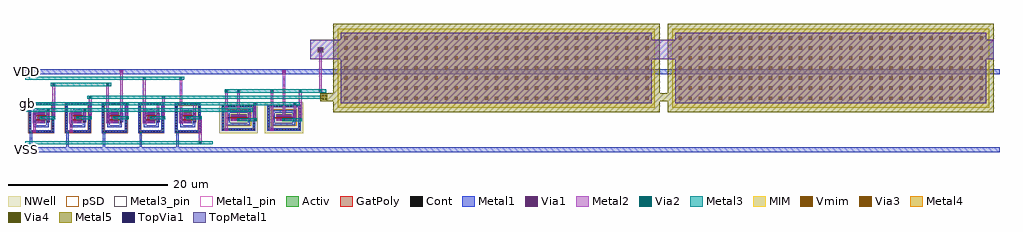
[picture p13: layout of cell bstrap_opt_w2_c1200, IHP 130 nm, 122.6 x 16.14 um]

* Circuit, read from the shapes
.subckt bstrap_opt_w2_c1200 VDD VSS ckb gb out vin
XM1 n1 ckb VSS VSS sg13_lv_nmos w=1u l=0.15u m=2
XM2 n2 ckb VSS VSS sg13_lv_nmos w=1u l=0.15u m=2
XM3 gb VDD n1 VSS sg13_lv_nmos w=1u l=0.15u m=2
XM4 n2 gb vin VSS sg13_lv_nmos w=1u l=0.15u m=2
XM5 out gb vin VSS sg13_lv_nmos w=1u l=0.13u m=2
XM6 n3 ckb gb n3 sg13_lv_pmos w=2u l=0.13u
XM7 VDD gb n3 n3 sg13_lv_pmos w=2u l=0.13u
XC8 n3 n2 cap_cmim w=39.8u l=9.94u m=2
.ends

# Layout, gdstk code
import gdstk
lib = gdstk.Library(unit=1e-6, precision=1e-09)
def R(c, l, rs):  # rectangles x0, y0, x1, y1
    for r in rs: c.add(gdstk.rectangle(r[:2], r[2:], *l))
def A(c, l, x, y, w, h, nx, ny, dx, dy):  # array of equal rectangles
    R(c, l, [(x+i*dx, y+j*dy, x+i*dx+w, y+j*dy+h) for i in range(nx) for j in range(ny)])
def P(c, l, *ps):  # polygons
    for p in ps: c.add(gdstk.Polygon(p, *l))
Activ = (1, 0)
GatPoly = (5, 0)
Cont = (6, 0)
Metal1 = (8, 0)
Metal1_pin = (8, 2)
Metal2 = (10, 0)
pSD = (14, 0)
Via1 = (19, 0)
Via2 = (29, 0)
Metal3 = (30, 0)
Metal3_pin = (30, 2)
NWell = (31, 0)
MIM = (36, 0)
Via3 = (49, 0)
Metal4 = (50, 0)
Via4 = (66, 0)
Metal5 = (67, 0)
TopVia1 = (125, 0)
TopMetal1 = (126, 0)
Vmim = (129, 0)

rfnmos_15 = lib.new_cell('rfnmos$15')
R(rfnmos_15, Activ, [(1.14,1.245,2.14,2.615)])
P(rfnmos_15, Activ, [(0.03,0.03),(0.03,3.51),(0.35,3.51),(0.35,0.35),(2.93,0.35),(2.93,3.51),(0.03,3.51),(0.03,3.83),(3.25,3.83),(3.25,0.03)])
R(rfnmos_15, GatPoly, [(0.71,1.32,1.01,2.54), (2.27,1.32,2.57,2.54), (1.01,1.59,2.27,1.74), (1.01,2.12,2.27,2.27)])
A(rfnmos_15, Cont, 1.24, 1.32, 0.16, 0.16, 1, 3, 0, 0.53)
A(rfnmos_15, Cont, 1.88, 1.32, 0.16, 0.16, 1, 3, 0, 0.53)
A(rfnmos_15, Cont, 0.78, 1.39, 0.16, 0.16, 1, 3, 0, 0.46)
A(rfnmos_15, Cont, 2.34, 1.39, 0.16, 0.16, 1, 3, 0, 0.46)
A(rfnmos_15, Cont, 0.11, 2.89, 0.16, 0.16, 1, 3, 0, 0.35)
A(rfnmos_15, Cont, 3.01, 2.89, 0.16, 0.16, 1, 3, 0, 0.35)
R(rfnmos_15, Cont, [(0.11,0.11,0.27,0.27), (0.47,0.11,0.63,0.27), (0.835,0.11,0.995,0.27), (1.195,0.11,1.355,0.27), (1.56,0.11,1.72,0.27), (1.92,0.11,2.08,0.27), (2.285,0.11,2.445,0.27), (2.645,0.11,2.805,0.27), (3.01,0.11,3.17,0.27), (0.11,0.46,0.27,0.62), (3.01,0.46,3.17,0.62), (0.11,0.805,0.27,0.965), (3.01,0.805,3.17,0.965), (0.11,1.155,0.27,1.315), (3.01,1.155,3.17,1.315), (0.11,1.5,0.27,1.66), (3.01,1.5,3.17,1.66), (0.11,1.85,0.27,2.01), (3.01,1.85,3.17,2.01), (0.11,2.195,0.27,2.355), (3.01,2.195,3.17,2.355), (0.11,2.545,0.27,2.705), (3.01,2.545,3.17,2.705), (0.47,3.59,0.63,3.75), (0.835,3.59,0.995,3.75), (1.195,3.59,1.355,3.75), (1.56,3.59,1.72,3.75), (1.92,3.59,2.08,3.75), (2.285,3.59,2.445,3.75), (2.645,3.59,2.805,3.75)])
A(rfnmos_15, Metal1, 1.19, 1.26, 0.9, 0.28, 1, 3, 0, 0.53)
R(rfnmos_15, Metal1, [(0.03,0.03,3.25,0.35), (0.03,0.35,0.35,3.51), (2.93,0.35,3.25,3.51), (0.76,1.34,0.96,2.52), (2.32,1.34,2.52,2.52), (0.03,3.51,3.25,3.83)])
P(rfnmos_15, Metal1, [(0.71,0.71),(0.71,2.85),(1.01,2.85),(1.01,1.01),(2.27,1.01),(2.27,2.85),(0.71,2.85),(0.71,3.15),(2.57,3.15),(2.57,0.71)])
R(rfnmos_15, Metal1_pin, [(0.03,0.11,3.25,0.27), (0.03,0.11,3.25,0.27), (1.19,1.26,2.09,1.54), (1.19,1.26,2.09,1.54), (0.76,1.34,0.96,2.52), (0.76,1.34,0.96,2.52), (1.19,1.79,2.09,2.07), (1.19,1.79,2.09,2.07)])
A(rfnmos_15, Metal2, 1.19, 1.3, 0.9, 0.2, 1, 3, 0, 0.53)
P(rfnmos_15, pSD, [(0,0),(0,3.48),(0.38,3.48),(0.38,0.38),(2.9,0.38),(2.9,3.48),(0,3.48),(0,3.86),(3.28,3.86),(3.28,0)])
A(rfnmos_15, Via1, 1.24, 1.305, 0.19, 0.19, 1, 3, 0, 0.53)
A(rfnmos_15, Via1, 1.85, 1.305, 0.19, 0.19, 1, 3, 0, 0.53)
rfnmos_15.add(gdstk.Label('S', (1.64,1.418), layer=63, texttype=0))
rfnmos_15.add(gdstk.Label('D', (1.64,1.947), layer=63, texttype=0))
rfnmos_15.add(gdstk.Label('G', (0.86,1.93), layer=63, texttype=0))
rfnmos_15.add(gdstk.Label('TIE', (1.64,0.19), layer=63, texttype=0))
rfnmos_15.add(gdstk.Label('rfnmos', (1.64,3.67), layer=63, texttype=0))

rfnmos_1_10 = lib.new_cell('rfnmos$1$10')
R(rfnmos_1_10, Activ, [(1.14,1.245,2.14,2.595)])
P(rfnmos_1_10, Activ, [(0.03,0.03),(0.03,3.49),(0.35,3.49),(0.35,0.35),(2.93,0.35),(2.93,3.49),(0.03,3.49),(0.03,3.81),(3.25,3.81),(3.25,0.03)])
R(rfnmos_1_10, GatPoly, [(0.71,1.32,1.01,2.52), (2.27,1.32,2.57,2.52), (1.01,1.595,2.27,1.725), (1.01,2.115,2.27,2.245)])
A(rfnmos_1_10, Cont, 0.11, 0.46, 0.16, 0.16, 1, 9, 0, 0.345)
A(rfnmos_1_10, Cont, 3.01, 0.46, 0.16, 0.16, 1, 9, 0, 0.345)
A(rfnmos_1_10, Cont, 1.24, 1.32, 0.16, 0.16, 1, 3, 0, 0.52)
A(rfnmos_1_10, Cont, 1.88, 1.32, 0.16, 0.16, 1, 3, 0, 0.52)
A(rfnmos_1_10, Cont, 0.78, 1.39, 0.16, 0.16, 1, 3, 0, 0.45)
A(rfnmos_1_10, Cont, 2.34, 1.39, 0.16, 0.16, 1, 3, 0, 0.45)
R(rfnmos_1_10, Cont, [(0.11,0.11,0.27,0.27), (0.47,0.11,0.63,0.27), (0.835,0.11,0.995,0.27), (1.195,0.11,1.355,0.27), (1.56,0.11,1.72,0.27), (1.92,0.11,2.08,0.27), (2.285,0.11,2.445,0.27), (2.645,0.11,2.805,0.27), (3.01,0.11,3.17,0.27), (0.11,3.57,0.27,3.73), (0.47,3.57,0.63,3.73), (0.835,3.57,0.995,3.73), (1.195,3.57,1.355,3.73), (1.56,3.57,1.72,3.73), (1.92,3.57,2.08,3.73), (2.285,3.57,2.445,3.73), (2.645,3.57,2.805,3.73), (3.01,3.57,3.17,3.73)])
A(rfnmos_1_10, Metal1, 1.19, 1.26, 0.9, 0.28, 1, 3, 0, 0.52)
R(rfnmos_1_10, Metal1, [(0.03,0.03,3.25,0.35), (0.03,0.35,0.35,3.49), (2.93,0.35,3.25,3.49), (0.76,1.34,0.96,2.5), (2.32,1.34,2.52,2.5), (0.03,3.49,3.25,3.81)])
P(rfnmos_1_10, Metal1, [(0.71,0.71),(0.71,2.83),(1.01,2.83),(1.01,1.01),(2.27,1.01),(2.27,2.83),(0.71,2.83),(0.71,3.13),(2.57,3.13),(2.57,0.71)])
R(rfnmos_1_10, Metal1_pin, [(0.03,0.11,3.25,0.27), (0.03,0.11,3.25,0.27), (1.19,1.26,2.09,1.54), (1.19,1.26,2.09,1.54), (0.76,1.34,0.96,2.5), (0.76,1.34,0.96,2.5), (1.19,1.78,2.09,2.06), (1.19,1.78,2.09,2.06)])
A(rfnmos_1_10, Metal2, 1.19, 1.3, 0.9, 0.2, 1, 3, 0, 0.52)
P(rfnmos_1_10, pSD, [(0,0),(0,3.46),(0.38,3.46),(0.38,0.38),(2.9,0.38),(2.9,3.46),(0,3.46),(0,3.84),(3.28,3.84),(3.28,0)])
A(rfnmos_1_10, Via1, 1.24, 1.305, 0.19, 0.19, 1, 3, 0, 0.52)
A(rfnmos_1_10, Via1, 1.85, 1.305, 0.19, 0.19, 1, 3, 0, 0.52)
rfnmos_1_10.add(gdstk.Label('S', (1.64,1.42), layer=63, texttype=0))
rfnmos_1_10.add(gdstk.Label('D', (1.64,1.94), layer=63, texttype=0))
rfnmos_1_10.add(gdstk.Label('G', (0.86,1.92), layer=63, texttype=0))
rfnmos_1_10.add(gdstk.Label('TIE', (1.64,0.19), layer=63, texttype=0))
rfnmos_1_10.add(gdstk.Label('rfnmos', (1.64,3.65), layer=63, texttype=0))

rfpmos_14 = lib.new_cell('rfpmos$14')
R(rfpmos_14, Activ, [(1.42,1.525,3.42,2.355)])
P(rfpmos_14, Activ, [(0.31,0.31),(0.31,3.25),(0.63,3.25),(0.63,0.63),(4.21,0.63),(4.21,3.25),(0.31,3.25),(0.31,3.57),(4.53,3.57),(4.53,0.31)])
R(rfpmos_14, GatPoly, [(0.99,1.6,1.29,2.28), (3.55,1.6,3.85,2.28), (1.29,1.875,3.55,2.005)])
A(rfpmos_14, Cont, 0.74, 0.39, 0.16, 0.16, 11, 2, 0.355, 2.94)
A(rfpmos_14, Cont, 0.39, 1.11, 0.16, 0.16, 1, 3, 0, 0.375)
A(rfpmos_14, Cont, 4.29, 1.11, 0.16, 0.16, 1, 3, 0, 0.375)
A(rfpmos_14, Cont, 1.52, 1.6, 0.16, 0.16, 5, 2, 0.41, 0.52)
A(rfpmos_14, Cont, 0.39, 2.23, 0.16, 0.16, 1, 3, 0, 0.375)
A(rfpmos_14, Cont, 4.29, 2.23, 0.16, 0.16, 1, 3, 0, 0.375)
R(rfpmos_14, Cont, [(0.39,0.39,0.55,0.55), (0.39,0.74,0.55,0.9), (4.29,0.74,4.45,0.9), (1.06,1.86,1.22,2.02), (3.62,1.86,3.78,2.02), (0.39,3.33,0.55,3.49)])
R(rfpmos_14, Metal1, [(0.31,0.31,4.53,0.63), (0.31,0.63,0.63,3.25), (4.21,0.63,4.53,3.25), (1.47,1.54,3.37,1.82), (1.04,1.62,1.24,2.26), (3.6,1.62,3.8,2.26), (1.47,2.06,3.37,2.34), (0.31,3.25,4.53,3.57)])
P(rfpmos_14, Metal1, [(0.99,0.99),(0.99,2.59),(1.29,2.59),(1.29,1.29),(3.55,1.29),(3.55,2.59),(0.99,2.59),(0.99,2.89),(3.85,2.89),(3.85,0.99)])
R(rfpmos_14, Metal1_pin, [(0.31,0.39,4.53,0.55), (0.31,0.39,4.53,0.55), (1.47,1.54,3.37,1.82), (1.47,1.54,3.37,1.82), (1.04,1.62,1.24,2.26), (1.04,1.62,1.24,2.26), (1.47,2.06,3.37,2.34), (1.47,2.06,3.37,2.34)])
R(rfpmos_14, Metal2, [(1.47,1.58,3.37,1.78), (1.47,2.1,3.37,2.3)])
R(rfpmos_14, pSD, [(0.81,0.91,4.03,2.97)])
A(rfpmos_14, Via1, 1.52, 1.585, 0.19, 0.19, 3, 2, 0.535, 0.52)
R(rfpmos_14, Via1, [(3.13,1.585,3.32,1.775), (3.13,2.105,3.32,2.295)])
R(rfpmos_14, NWell, [(0,0,4.84,3.88)])
rfpmos_14.add(gdstk.Label('S', (2.42,1.7), layer=63, texttype=0))
rfpmos_14.add(gdstk.Label('D', (2.42,2.22), layer=63, texttype=0))
rfpmos_14.add(gdstk.Label('G', (1.14,1.94), layer=63, texttype=0))
rfpmos_14.add(gdstk.Label('TIE', (2.42,0.47), layer=63, texttype=0))
rfpmos_14.add(gdstk.Label('rfpmos', (2.42,3.41), layer=63, texttype=0))

cmim_1 = lib.new_cell('cmim$1')
R(cmim_1, MIM, [(0,0,39.8,9.94)])
R(cmim_1, Metal5, [(-0.6,-0.6,40.4,10.54)])
R(cmim_1, TopMetal1, [(0.37,0.56,39.43,9.38)])
A(cmim_1, Vmim, 0.79, 0.98, 0.42, 0.42, 31, 7, 1.26, 1.26)
cmim_1.add(gdstk.Label('c=598f', (19.9,4.97), layer=63, texttype=0))
cmim_1.add(gdstk.Label('cmim', (19.9,4.97), layer=63, texttype=0))

via_stack_3 = lib.new_cell('via_stack$3')
R(via_stack_3, Metal3, [(-0.35,-0.305,0.35,0.305)])
R(via_stack_3, Via3, [(-0.3,-0.3,-0.11,-0.11), (0.11,-0.3,0.3,-0.11), (-0.3,0.11,-0.11,0.3), (0.11,0.11,0.3,0.3)])
R(via_stack_3, Metal4, [(-0.35,-0.305,0.35,0.305)])
R(via_stack_3, Via4, [(-0.3,-0.3,-0.11,-0.11), (0.11,-0.3,0.3,-0.11), (-0.3,0.11,-0.11,0.3), (0.11,0.11,0.3,0.3)])
R(via_stack_3, Metal5, [(-0.35,-0.305,0.35,0.305)])

via_stack_1_1 = lib.new_cell('via_stack$1$1')
R(via_stack_1_1, Metal2, [(-0.35,-0.305,0.35,0.305)])
R(via_stack_1_1, Via2, [(-0.3,-0.3,-0.11,-0.11), (0.11,-0.3,0.3,-0.11), (-0.3,0.11,-0.11,0.3), (0.11,0.11,0.3,0.3)])
R(via_stack_1_1, Metal3, [(-0.35,-0.305,0.35,0.305)])
R(via_stack_1_1, Via3, [(-0.3,-0.3,-0.11,-0.11), (0.11,-0.3,0.3,-0.11), (-0.3,0.11,-0.11,0.3), (0.11,0.11,0.3,0.3)])
R(via_stack_1_1, Metal4, [(-0.35,-0.305,0.35,0.305)])
R(via_stack_1_1, Via4, [(-0.3,-0.3,-0.11,-0.11), (0.11,-0.3,0.3,-0.11), (-0.3,0.11,-0.11,0.3), (0.11,0.11,0.3,0.3)])
R(via_stack_1_1, Metal5, [(-0.35,-0.31,0.35,0.31)])
R(via_stack_1_1, TopVia1, [(-0.21,-0.21,0.21,0.21)])
R(via_stack_1_1, TopMetal1, [(-0.82,-0.82,0.82,0.82)])

bstrap_opt_w2_c1200 = lib.new_cell('bstrap_opt_w2_c1200')
A(bstrap_opt_w2_c1200, Metal1, 0.18, -1.8, 0.3, 2.03, 5, 1, 4.6, 0)
A(bstrap_opt_w2_c1200, Metal1, 2.31, 1.34, 0.4, 1.18, 4, 1, 4.6, 0)
R(bstrap_opt_w2_c1200, Metal1, [(-0.6,-2.4,122,-1.8), (0.57,0.04,0.97,0.34), (5.17,0.04,5.57,0.34), (24.71,0.32,25.11,0.62), (30.41,0.32,30.81,0.62), (20.71,1.34,21.11,2.5), (27.59,1.62,27.99,2.26), (33.29,1.62,33.69,2.26), (-0.6,7.4,122,8), (11.51,7.5,11.91,7.9), (31.92,7.5,32.32,7.9)])
R(bstrap_opt_w2_c1200, Metal1_pin, [(-0.6,-2.3,0.2,-1.9), (-0.6,7.5,0.2,7.9)])
A(bstrap_opt_w2_c1200, Metal2, 0.57, 1.26, 0.92, 0.28, 5, 1, 4.6, 0)
A(bstrap_opt_w2_c1200, Metal2, 0.57, 1.26, 0.4, 1.3, 4, 1, 4.6, 0)
A(bstrap_opt_w2_c1200, Metal2, 2.99, 1.73, 0.4, 0.4, 4, 1, 4.6, 0)
A(bstrap_opt_w2_c1200, Metal2, 2.31, 1.74, 0.4, 0.38, 4, 1, 4.6, 0)
A(bstrap_opt_w2_c1200, Metal2, 1.44, 1.78, 0.4, 0.3, 4, 1, 4.6, 0)
A(bstrap_opt_w2_c1200, Metal2, 0.57, 2.36, 0.92, 0.2, 4, 1, 4.6, 0)
R(bstrap_opt_w2_c1200, Metal2, [(21.39,-1.4,21.79,-1), (21.42,-1.2,21.76,1.92), (0.57,0.04,0.97,0.34), (0.6,0.04,0.94,1.36), (5.17,0.04,5.57,0.34), (5.2,0.04,5.54,1.36), (24.71,0.32,25.11,0.62), (30.41,0.32,30.81,0.62), (24.74,0.47,25.08,5.3), (30.44,0.47,30.78,5.3), (18.97,1.26,19.37,2.54), (9.8,1.46,10.14,6.1), (14.4,1.46,14.74,6.9), (19,1.46,19.34,6.9), (28.27,1.48,28.67,1.88), (33.97,1.48,34.37,1.88), (26.22,1.53,26.62,1.83), (31.92,1.53,32.32,1.83), (28.3,1.68,28.64,3.7), (34,1.68,34.34,5.3), (21.39,1.72,21.79,2.12), (20.71,1.73,21.11,2.11), (27.59,1.75,27.99,2.13), (33.29,1.75,33.69,2.13), (19.84,1.77,20.24,2.07), (20.74,1.92,21.08,3.7), (2.34,1.93,2.68,2.9), (3.02,1.93,3.36,6.1), (6.94,1.93,7.28,2.9), (7.62,1.93,7.96,4.5), (11.54,1.93,11.88,7.7), (12.22,1.93,12.56,3.7), (16.14,1.93,16.48,3.7), (16.82,1.93,17.16,4.5), (27.62,1.94,27.96,2.9), (33.32,1.94,33.66,3.7), (26.25,2.24,26.59,5.3), (31.95,2.24,32.29,7.7), (18.97,2.34,19.89,2.54), (2.31,2.7,2.71,3.1), (6.91,2.7,7.31,3.1), (27.59,2.7,27.99,3.1), (12.19,3.5,12.59,3.9), (16.11,3.5,16.51,3.9), (20.71,3.5,21.11,3.9), (28.27,3.5,28.67,3.9), (33.29,3.5,33.69,3.9), (7.59,4.3,7.99,4.7), (16.79,4.3,17.19,4.7), (24.71,5.1,25.11,5.5), (26.22,5.1,26.62,5.5), (30.41,5.1,30.81,5.5), (33.97,5.1,34.37,5.5), (36.5,5.1,36.9,5.5), (36.53,5.3,36.87,10.5), (2.99,5.9,3.39,6.3), (9.77,5.9,10.17,6.3), (14.37,6.7,14.77,7.1), (18.97,6.7,19.37,7.1), (11.51,7.5,11.91,7.9), (31.92,7.5,32.32,7.9)])
A(bstrap_opt_w2_c1200, Via1, 2.325, 1.835, 0.19, 0.19, 4, 1, 4.6, 0)
R(bstrap_opt_w2_c1200, Via1, [(0.68,0.1,0.87,0.29), (5.28,0.1,5.47,0.29), (24.82,0.38,25.01,0.57), (30.52,0.38,30.71,0.57), (20.725,1.825,20.915,2.015), (27.605,1.845,27.795,2.035), (33.305,1.845,33.495,2.035), (11.62,7.6,11.81,7.79), (32.02,7.6,32.21,7.79)])
R(bstrap_opt_w2_c1200, Via2, [(21.5,-1.3,21.69,-1.11), (26.33,1.59,26.52,1.78), (28.38,1.59,28.57,1.78), (32.02,1.59,32.21,1.78), (34.08,1.59,34.27,1.78), (19.94,1.82,20.13,2.01), (21.5,1.82,21.69,2.01), (1.54,1.84,1.73,2.03), (3.1,1.84,3.29,2.03), (6.14,1.84,6.33,2.03), (7.69,1.84,7.88,2.03), (10.74,1.84,10.93,2.03), (12.29,1.84,12.48,2.03), (15.34,1.84,15.53,2.03), (16.9,1.84,17.09,2.03), (2.41,2.8,2.6,2.99), (7.02,2.8,7.21,2.99), (27.7,2.8,27.89,2.99), (12.29,3.6,12.48,3.79), (16.22,3.6,16.41,3.79), (20.82,3.6,21.01,3.79), (28.38,3.6,28.57,3.79), (33.39,3.6,33.58,3.79), (7.69,4.4,7.88,4.59), (16.9,4.4,17.09,4.59), (24.82,5.2,25.01,5.39), (26.33,5.2,26.52,5.39), (30.52,5.2,30.71,5.39), (34.08,5.2,34.27,5.39), (36.6,5.2,36.79,5.39), (3.1,6,3.29,6.19), (9.87,6,10.06,6.19), (14.48,6.81,14.67,7), (19.08,6.81,19.27,7)])
A(bstrap_opt_w2_c1200, Metal3, 1.44, 1.73, 1.95, 0.4, 4, 1, 4.6, 0)
A(bstrap_opt_w2_c1200, Metal3, 2.99, 1.73, 0.4, 0.4, 4, 1, 4.6, 0)
R(bstrap_opt_w2_c1200, Metal3, [(-0.4,-1.4,23.2,-1), (21.39,-1.4,21.79,-1), (26.22,1.48,28.67,1.88), (28.27,1.48,28.67,1.88), (31.92,1.48,34.37,1.88), (33.97,1.48,34.37,1.88), (19.84,1.72,21.79,2.12), (21.39,1.72,21.79,2.12), (-0.4,2.7,28.2,3.1), (2.31,2.7,2.71,3.1), (6.91,2.7,7.31,3.1), (27.59,2.7,27.99,3.1), (-0.4,3.5,34.1,3.9), (12.19,3.5,12.59,3.9), (16.11,3.5,16.51,3.9), (20.71,3.5,21.11,3.9), (28.27,3.5,28.67,3.9), (33.29,3.5,33.69,3.9), (7.4,4.3,37.4,4.7), (7.59,4.3,7.99,4.7), (16.79,4.3,17.19,4.7), (24.7,5.1,37.4,5.5), (24.71,5.1,25.11,5.5), (26.22,5.1,26.62,5.5), (30.41,5.1,30.81,5.5), (33.97,5.1,34.37,5.5), (36.5,5.1,36.9,5.5), (2.8,5.9,10.4,6.3), (2.99,5.9,3.39,6.3), (9.77,5.9,10.17,6.3), (-0.4,6.7,19.6,7.1), (14.37,6.7,14.77,7.1), (18.97,6.7,19.37,7.1)])
R(bstrap_opt_w2_c1200, Metal3_pin, [(-0.4,-1.4,0.2,-1), (-0.4,2.7,0.2,3.1), (-0.4,3.5,0.2,3.9), (-0.4,6.7,0.2,7.1)])
R(bstrap_opt_w2_c1200, Metal5, [(36.7,4,121.3,5)])
R(bstrap_opt_w2_c1200, TopMetal1, [(35.4,9.3,121.3,11.7)])
bstrap_opt_w2_c1200.add(gdstk.Reference(rfnmos_15, (0,0)))
bstrap_opt_w2_c1200.add(gdstk.Reference(rfnmos_15, (4.6,0)))
bstrap_opt_w2_c1200.add(gdstk.Reference(rfnmos_15, (9.2,0)))
bstrap_opt_w2_c1200.add(gdstk.Reference(rfnmos_15, (13.8,0)))
bstrap_opt_w2_c1200.add(gdstk.Reference(rfnmos_1_10, (18.4,0)))
bstrap_opt_w2_c1200.add(gdstk.Reference(rfpmos_14, (24,0)))
bstrap_opt_w2_c1200.add(gdstk.Reference(rfpmos_14, (29.7,0)))
bstrap_opt_w2_c1200.add(gdstk.Reference(cmim_1, (38.9,3.2)))
bstrap_opt_w2_c1200.add(gdstk.Reference(cmim_1, (80.9,3.2)))
bstrap_opt_w2_c1200.add(gdstk.Reference(via_stack_3, (37.2,4.5)))
bstrap_opt_w2_c1200.add(gdstk.Reference(via_stack_1_1, (36.7,10.5)))
bstrap_opt_w2_c1200.add(gdstk.Label('VSS', (-0.2,-2.1), layer=8, texttype=25))
bstrap_opt_w2_c1200.add(gdstk.Label('VDD', (-0.2,7.7), layer=8, texttype=25))
bstrap_opt_w2_c1200.add(gdstk.Label('vin', (-0.1,6.9), layer=30, texttype=25))
bstrap_opt_w2_c1200.add(gdstk.Label('out', (-0.1,-1.2), layer=30, texttype=25))
bstrap_opt_w2_c1200.add(gdstk.Label('gb', (-0.1,3.7), layer=30, texttype=25))
bstrap_opt_w2_c1200.add(gdstk.Label('ckb', (-0.1,2.9), layer=30, texttype=25))

lib.write_gds('bstrap_opt_w2_c1200.gds')
